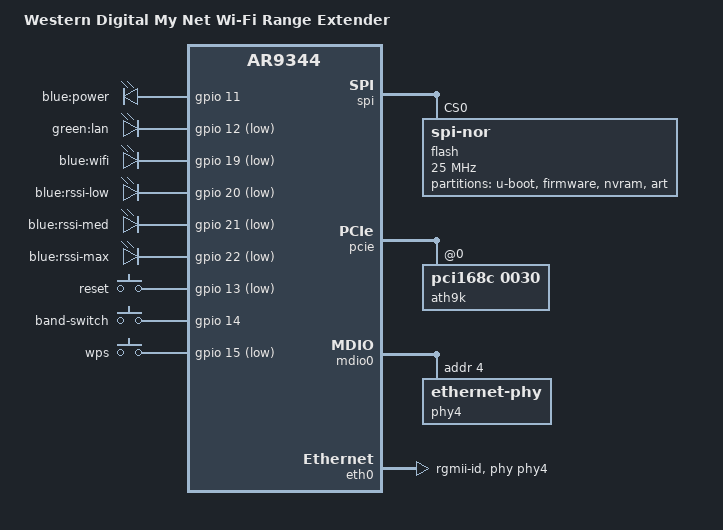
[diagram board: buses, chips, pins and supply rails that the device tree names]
// SPDX-License-Identifier: GPL-2.0-or-later OR MIT

#include "ar9344.dtsi"

#include <dt-bindings/gpio/gpio.h>
#include <dt-bindings/input/input.h>

/ {
	model = "Western Digital My Net Wi-Fi Range Extender";
	compatible = "wd,mynet-wifi-rangeextender", "qca,ar9344";

	chosen {
		bootargs = "console=ttyS0,115200n8";
	};

	aliases {
		led-boot = &led_power;
		led-failsafe = &led_power;
		led-running = &led_power;
		led-upgrade = &led_power;
	};

	leds {
		compatible = "gpio-leds";

		led_power: power {
			label = "blue:power";
			gpios = <&gpio 11 GPIO_ACTIVE_HIGH>;
			/* LED has no off state. It's either on or it blinks */
		};

		lan {
			label = "green:lan";
			gpios = <&gpio 12 GPIO_ACTIVE_LOW>;
		};

		wifi {
			label = "blue:wifi";
			gpios = <&gpio 19 GPIO_ACTIVE_LOW>;
			linux,default-trigger = "phy0tpt";
		};

		wifi-rssi-low {
			label = "blue:rssi-low";
			gpios = <&gpio 20 GPIO_ACTIVE_LOW>;
		};

		wifi-rssi-med {
			label = "blue:rssi-med";
			gpios = <&gpio 21 GPIO_ACTIVE_LOW>;
		};

		wifi-rssi-max {
			label = "blue:rssi-max";
			gpios = <&gpio 22 GPIO_ACTIVE_LOW>;
		};
	};

	keys {
		compatible = "gpio-keys";

		reset {
			linux,code = <KEY_RESTART>;
			gpios = <&gpio 13 GPIO_ACTIVE_LOW>;
		};

		band-switch {
			linux,code = <BTN_1>;
			gpios = <&gpio 14 GPIO_ACTIVE_HIGH>;
			linux,input-type = <EV_SW>;
		};

		wps {
			linux,code = <KEY_WPS_BUTTON>;
			gpios = <&gpio 15 GPIO_ACTIVE_LOW>;
		};
	};
};

&ref {
	clock-frequency = <25000000>;
};

&spi {
	status = "okay";

	flash@0 {
		compatible = /* "s25fl064k", */ "jedec,spi-nor";
		reg = <0>;
		spi-max-frequency = <25000000>;

		partitions {
			compatible = "fixed-partitions";
			#address-cells = <1>;
			#size-cells = <1>;

			uboot: partition@0 {
				label = "u-boot";
				reg = <0x0 0x040000>;
				read-only;
			};

			partition@40000 {
				label = "firmware";
				reg = <0x40000 0x7a0000>;
				compatible = "cybertan,trx";
			};

			nvram: partition@7e0000 {
				label = "nvram";
				reg = <0x7e0000 0x10000>;
			};

			art: partition@7f0000 {
				label = "art";
				reg = <0x7f0000 0x10000>;
				read-only;
			};
		};
	};
};

&pcie {
	status = "okay";

	ath9k: wifi@0,0 {
		compatible = "pci168c,0030";
		reg = <0x0000 0 0 0 0>;
		qca,no-eeprom;
		/* wifi MAC is stored in nvram */
	};
};

&mdio0 {
	status = "okay";

	phy-mask = <0x10>;

	phy4: ethernet-phy@4 {
		reg = <4>;
	};
};

&eth0 {
	status = "okay";

	pll-data = <0x02000000 0x00000101 0x00001313>;

	/* ethernet MAC is stored in nvram */
	phy-mode = "rgmii-id";
	phy-handle = <&phy4>;

	gmac-config {
		device = <&gmac>;
		rgmii-gmac0 = <1>;
		rxd-delay = <3>;
		rxdv-delay = <3>;
	};
};

&mdio1 {
	status = "disabled";
};
